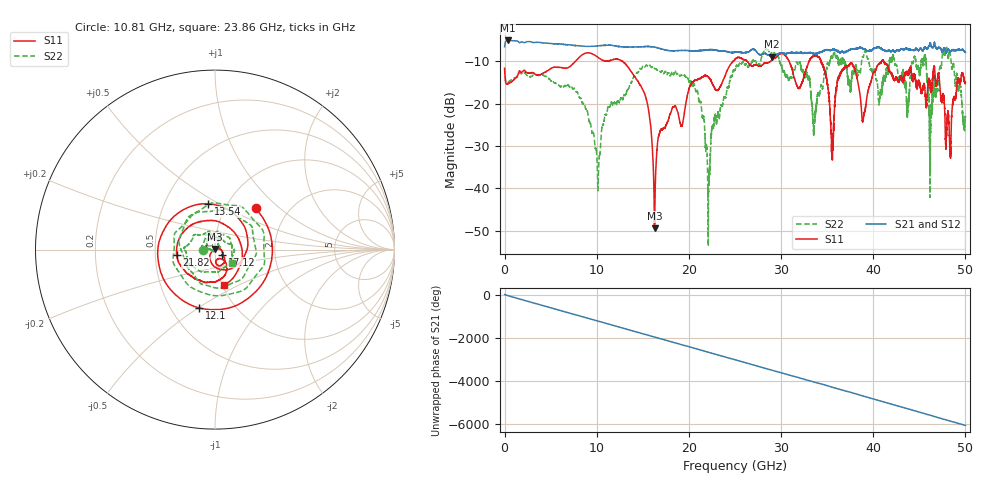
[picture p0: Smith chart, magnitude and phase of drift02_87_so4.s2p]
!Created with skrf (http://scikit-rf.org).
# Hz S RI R 50.0
!freq ReS11 ImS11 ReS21 ImS21 ReS12 ImS12 ReS22 ImS22
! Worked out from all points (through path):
!   10001 points, 300 kHz to 50 GHz, reference 50 ohm
!   highest |S21| = -5.04 dB at 325.3 MHz (marker M1); lowest = -8.9 dB at 28.98 GHz (marker M2)
!   group delay of S21, straight-line fit = 336 ps
!   lowest |S11| = -49.4 dB at 16.27 GHz (marker M3), VSWR 1.01, Z = 49.8 + j0.299 ohm
!   |S11| at or under -10 dB: start of sweep to 7.666 GHz; 12.82 GHz to 24.78 GHz (11.95 GHz wide, 63.6 % of centre); 41.14 GHz to end of sweep (the widest 3 of 10)
!   |S22| runs from -53.7 to -6.6 dB; largest |S21 - S12| = 0.031
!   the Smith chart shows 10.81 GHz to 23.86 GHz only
!   S11 on the Smith chart (normalised r, x): 10.81 GHz: 1.37, +0.70; 12.1 GHz: 0.69, -0.50; 13.54 GHz: 0.82, +0.45; 17.12 GHz: 1.08, -0.06; 21.82 GHz: 0.65, -0.04; 23.86 GHz: 1.01, -0.42
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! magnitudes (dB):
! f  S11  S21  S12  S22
! 300 kHz  -11.6  -6.5  -6.5  -11.6
! 325.3 MHz  -15.3  -5.0  -5.0  -15.1
! 8.335 GHz  -8.6  -6.4  -6.4  -19.1
! 10.11 GHz  -9.0  -6.3  -6.3  -39.5
! 10.81 GHz  -9.8  -6.2  -6.2  -23.6
! 12.1 GHz  -9.5  -6.4  -6.4  -20.4
! 13.54 GHz  -11.8  -6.6  -6.6  -15.9
! 16.27 GHz  -49.4  -6.6  -6.6  -11.7
! 16.67 GHz  -28.0  -6.8  -6.8  -12.1
! 17.12 GHz  -26.1  -7.1  -7.1  -12.3
! 21.82 GHz  -13.3  -7.3  -7.3  -30.7
! 23.86 GHz  -13.7  -7.6  -7.6  -18.3
! 25 GHz  -9.5  -7.8  -7.8  -12.0
! 28.98 GHz  -9.7  -8.9  -8.9  -7.9
! 33.34 GHz  -9.0  -8.0  -8.0  -19.8
! 35.55 GHz  -31.6  -7.2  -7.2  -9.1
! 36.8 GHz  -11.8  -7.8  -7.8  -10.2
! 41.67 GHz  -11.9  -7.4  -7.5  -12.1
! 45.5 GHz  -15.5  -6.9  -6.9  -9.4
! 46.26 GHz  -16.8  -6.2  -6.2  -22.7
! 48.12 GHz  -21.9  -7.2  -7.1  -9.0
! 50 GHz  -15.1  -7.8  -7.9  -23.4
